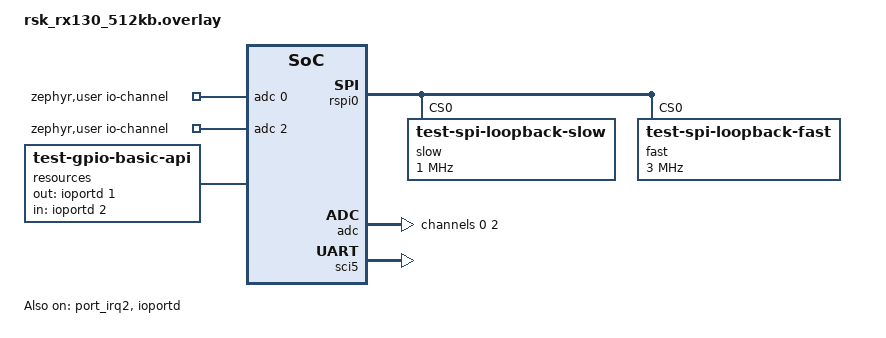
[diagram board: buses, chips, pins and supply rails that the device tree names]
/*
 * Copyright (c) 2025 Renesas Electronics Corporation
 * SPDX-License-Identifier: Apache-2.0
 */

&rspi0 {
	slow@0 {
		compatible = "test-spi-loopback-slow";
		reg = <0>;
		spi-max-frequency = <1000000>;
	};

	fast@0 {
		compatible = "test-spi-loopback-fast";
		reg = <0>;
		spi-max-frequency = <3000000>;
	};
};

/ {
	zephyr,user {
		io-channels = <&adc 0>, <&adc 2>;
	};
};

&adc {
	#address-cells = <1>;
	#size-cells = <0>;
	channel@0 {
		reg = <0>;
		zephyr,gain = "ADC_GAIN_1";
		zephyr,reference = "ADC_REF_INTERNAL";
		zephyr,resolution = <12>;
		zephyr,acquisition-time = <ADC_ACQ_TIME_DEFAULT>;
		zephyr,vref-mv = <3300>;
	};
	channel@2 {
		reg = <2>;
		zephyr,gain = "ADC_GAIN_1";
		zephyr,reference = "ADC_REF_INTERNAL";
		zephyr,resolution = <12>;
		zephyr,acquisition-time = <ADC_ACQ_TIME_DEFAULT>;
		zephyr,vref-mv = <3300>;
	};
};

/ {
	resources {
		compatible = "test-gpio-basic-api";
		out-gpios = <&ioportd 1 0>;
		in-gpios = <&ioportd 2 0>;
	};
};

&port_irq2 {
	status = "okay";
	renesas,digital-filtering;
};

&ioportd {
	status = "okay";
};

&pinctrl {
	sci5_default: sci5_default {
		group1 {
			psels = <RX_PSEL(RX_PSEL_PAnPFS_TXD5, 10, 4)>,
				<RX_PSEL(RX_PSEL_PAnPFS_RXD5, 10, 2)>;
		};
	};
};

&sci5 {
	pinctrl-0 = <&sci5_default>;
	pinctrl-names = "default";
	status = "okay";
	dut: uart {
		current-speed = <115200>;
		status = "okay";
	};
};
